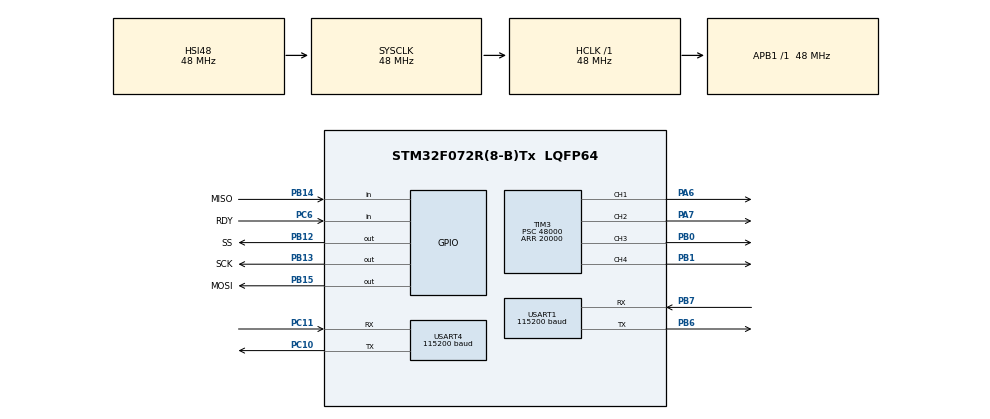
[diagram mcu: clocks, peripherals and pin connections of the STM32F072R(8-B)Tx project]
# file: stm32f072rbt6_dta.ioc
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CRC.InputDataFormat=CRC_INPUTDATA_FORMAT_WORDS
Dma.Request0=USART1_TX
Dma.Request1=USART1_RX
Dma.USART1_RX.1.Direction=DMA_PERIPH_TO_MEMORY
Dma.USART1_RX.1.Instance=DMA1_Channel3
Dma.USART1_RX.1.MemDataAlignment=DMA_MDATAALIGN_BYTE
Dma.USART1_RX.1.MemInc=DMA_MINC_ENABLE
Dma.USART1_RX.1.Mode=DMA_NORMAL
Dma.USART1_RX.1.PeriphDataAlignment=DMA_PDATAALIGN_BYTE
Dma.USART1_RX.1.PeriphInc=DMA_PINC_DISABLE
Dma.USART1_RX.1.Priority=DMA_PRIORITY_LOW
Dma.USART1_TX.0.Direction=DMA_MEMORY_TO_PERIPH
Dma.USART1_TX.0.Instance=DMA1_Channel2
Dma.USART1_TX.0.MemDataAlignment=DMA_MDATAALIGN_BYTE
Dma.USART1_TX.0.MemInc=DMA_MINC_ENABLE
Dma.USART1_TX.0.Mode=DMA_NORMAL
Dma.USART1_TX.0.PeriphDataAlignment=DMA_PDATAALIGN_BYTE
Dma.USART1_TX.0.PeriphInc=DMA_PINC_DISABLE
Dma.USART1_TX.0.Priority=DMA_PRIORITY_MEDIUM
FREERTOS.INCLUDE_vTaskDelayUntil=1
FREERTOS.Queues01=resultQueue,8,ADC_msg_t,NULL
FREERTOS.Tasks01=adcTask,2,128,StartAdcTask;tuneTask,-1,128,StartTuneTask;uartTask,0,128,StartUartTask
FREERTOS.configCHECK_FOR_STACK_OVERFLOW=2
FREERTOS.configTOTAL_HEAP_SIZE=5000
FREERTOS.configUSE_IDLE_HOOK=1
FREERTOS.configUSE_MALLOC_FAILED_HOOK=1
FREERTOS.configUSE_TIMERS=0
Mcu.Family=STM32F0
Mcu.Name=STM32F072R(8-B)Tx
Mcu.Package=LQFP64
NVIC.DMA1_Channel2_3_IRQn=true\:3\:0\:false
NVIC.TIM3_IRQn=true\:3\:0\:false
NVIC.USART1_IRQn=true\:3\:0\:false
PA13.Mode=Serial-WireDebug
PA13.Signal=SYS_SWDIO
PA14.Mode=Serial-WireDebug
PA14.Signal=SYS_SWCLK
PA6.Signal=S_TIM3_CH1
PA7.Signal=S_TIM3_CH2
PB0.Signal=S_TIM3_CH3
PB1.Signal=S_TIM3_CH4
PB12.GPIO_Label=SS
PB12.GPIO_ModeDefaultOutputPP=GPIO_MODE_OUTPUT_PP
PB12.GPIO_PuPd=GPIO_PULLUP
PB12.GPIO_Speed=GPIO_SPEED_MEDIUM
PB12.Signal=GPIO_Output
PB13.GPIO_Label=SCK
PB13.GPIO_ModeDefaultOutputPP=GPIO_MODE_OUTPUT_PP
PB13.GPIO_PuPd=GPIO_NOPULL
PB13.GPIO_Speed=GPIO_SPEED_HIGH
PB13.Signal=GPIO_Output
PB14.GPIO_Label=MISO
PB14.GPIO_Mode=GPIO_MODE_INPUT
PB14.GPIO_PuPd=GPIO_NOPULL
PB14.Signal=GPIO_Input
PB15.GPIO_Label=MOSI
PB15.GPIO_ModeDefaultOutputPP=GPIO_MODE_OUTPUT_PP
PB15.GPIO_PuPd=GPIO_NOPULL
PB15.GPIO_Speed=GPIO_SPEED_HIGH
PB15.Signal=GPIO_Output
PB6.Mode=Asynchronous
PB6.Signal=USART1_TX
PB7.Mode=Asynchronous
PB7.Signal=USART1_RX
PC10.Mode=Asynchronous
PC10.Signal=USART4_TX
PC11.Mode=Asynchronous
PC11.Signal=USART4_RX
PC6.GPIO_Label=RDY
PC6.GPIO_Mode=GPIO_MODE_INPUT
PC6.GPIO_PuPd=GPIO_NOPULL
PC6.Signal=GPIO_Input
ProjectManager.TargetToolchain=MDK-ARM V4
RCC.AHBFreq_Value=48000000
RCC.APB1Freq_Value=48000000
RCC.APB1TimFreq_Value=48000000
RCC.HCLKFreq_Value=48000000
RCC.PLLMUL=RCC_PLL_MUL6
RCC.PLLSourceVirtual=RCC_PLLSOURCE_HSI48
RCC.SYSCLKFreq_VALUE=48000000
RCC.SYSCLKSource=RCC_SYSCLKSOURCE_HSI48
SH.S_TIM3_CH1.0=TIM3_CH1,PWM Generation1 CH1
SH.S_TIM3_CH2.0=TIM3_CH2,PWM Generation2 CH2
SH.S_TIM3_CH3.0=TIM3_CH3,PWM Generation3 CH3
SH.S_TIM3_CH4.0=TIM3_CH4,PWM Generation4 CH4
TIM3.Channel-PWM\ Generation2\ CH2=TIM_CHANNEL_2
TIM3.Channel-PWM\ Generation3\ CH3=TIM_CHANNEL_3
TIM3.Channel-PWM\ Generation4\ CH4=TIM_CHANNEL_4
TIM3.Period=20000
TIM3.Prescaler=48000
USART1.BaudRate=115200
USART1.WordLength=UART_WORDLENGTH_8B
USART4.BaudRate=115200
USART4.WordLength=UART_WORDLENGTH_8B
VP_CRC_VS_CRC.Mode=CRC_Activate
VP_FREERTOS_VS_ENABLE.Mode=Enabled
VP_IWDG_VS_IWDG.Mode=IWDG_Activate
VP_RTC_VS_RTC_Alarm_A_Intern.Mode=Alarm A

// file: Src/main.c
/**
  ******************************************************************************
  * File Name          : main.c
  * Description        : Main program body
  ******************************************************************************
  *
  * COPYRIGHT(c) 2015 STMicroelectronics
  *
  * Redistribution and use in source and binary forms, with or without modification,
  * are permitted provided that the following conditions are met:
  *   1. Redistributions of source code must retain the above copyright notice,
  *      this list of conditions and the following disclaimer.
  *   2. Redistributions in binary form must reproduce the above copyright notice,
  *      this list of conditions and the following disclaimer in the documentation
  *      and/or other materials provided with the distribution.
  *   3. Neither the name of STMicroelectronics nor the names of its contributors
  *      may be used to endorse or promote products derived from this software
  *      without specific prior written permission.
  *
  * THIS SOFTWARE IS PROVIDED BY THE COPYRIGHT HOLDERS AND CONTRIBUTORS "AS IS"
  * AND ANY EXPRESS OR IMPLIED WARRANTIES, INCLUDING, BUT NOT LIMITED TO, THE
  * IMPLIED WARRANTIES OF MERCHANTABILITY AND FITNESS FOR A PARTICULAR PURPOSE ARE
  * DISCLAIMED. IN NO EVENT SHALL THE COPYRIGHT HOLDER OR CONTRIBUTORS BE LIABLE
  * FOR ANY DIRECT, INDIRECT, INCIDENTAL, SPECIAL, EXEMPLARY, OR CONSEQUENTIAL
  * DAMAGES (INCLUDING, BUT NOT LIMITED TO, PROCUREMENT OF SUBSTITUTE GOODS OR
  * SERVICES; LOSS OF USE, DATA, OR PROFITS; OR BUSINESS INTERRUPTION) HOWEVER
  * CAUSED AND ON ANY THEORY OF LIABILITY, WHETHER IN CONTRACT, STRICT LIABILITY,
  * OR TORT (INCLUDING NEGLIGENCE OR OTHERWISE) ARISING IN ANY WAY OUT OF THE USE
  * OF THIS SOFTWARE, EVEN IF ADVISED OF THE POSSIBILITY OF SUCH DAMAGE.
  *
  ******************************************************************************
  */
#include "stm32f0xx_hal.h"
#include "cmsis_os.h"
#include "crc.h"
#include "dma.h"
#include "iwdg.h"
#include "rtc.h"
#include "tim.h"
#include "usart.h"
#include "gpio.h"

/* USER CODE BEGIN Includes */
//#define USE_FULL_ASSERT 1
//#define NDEBUG
#include "main.h"
//#include "assert.h"

/* USER CODE END Includes */

/* USER CODE BEGIN PV */
//__IO uint8_t dma_t_cplt=1, dma_r_cplt=1;
extern AD779X_HandleTypeDef adi1;
extern SavedDomain_t EepromDomain;
SavedDomain_t Options_rw;
TIM_OC_InitTypeDef sConfigPWM;
HAL_StatusTypeDef sts;
volatile uint32_t systick_ms = 0;
/* USER CODE END PV */

void SystemClock_Config(void);
void MX_FREERTOS_Init(void);

/* USER CODE BEGIN PFP */
static HAL_StatusTypeDef out_pwm_jitter(float32_t pwr) __attribute__((used));
static HAL_StatusTypeDef out_pwm_simple(float32_t pwr) __attribute__((used));
static HAL_StatusTypeDef out_pwm_bresenham(float32_t pwr) __attribute__((used));
/* USER CODE END PFP */

/* USER CODE BEGIN 0 */
HAL_StatusTypeDef (*pf_output[N_FUNC_PWR])(float32_t pwr) = {out_pwm_jitter, out_pwm_simple, out_pwm_bresenham};
static uint16_t counter = 0; //counter for out_pwm_jitter
void HAL_TIM_PeriodElapsedCallback(TIM_HandleTypeDef *htim) {
	counter++;
}

HAL_StatusTypeDef out_pwm_jitter(float32_t pwr) {
	//use mod
	// tc1 6s, 6000 ms, 600 halfcycles 10ms cycle
	// tc2 60s, 10*tc1
	//uint16_t tmp = (uint16_t)(pwr / Options_rw.pwm_scale_f);

	//uint16_t tmp = (uint16_t)pwr;

	uint16_t pwm_val;

	if(counter == 0) {
		pwm_val = (uint16_t)pwr + 10*((uint16_t)pwr%10);
	}
	else {
		pwm_val = (uint16_t)pwr;
	}
	if(counter > 9) {
		counter = 0;
	}

	sConfigPWM.Pulse = pwm_val;
	HAL_TIM_PWM_ConfigChannel(&htim3, &sConfigPWM, TIM_CHANNEL_1);
	//HAL_TIM_PWM_Start(&htim3, TIM_CHANNEL_1);
	HAL_TIM_PWM_Start_IT(&htim3, TIM_CHANNEL_1);

	return HAL_OK;
}
HAL_StatusTypeDef out_pwm_simple(float32_t pwr){
	return HAL_OK;
}

HAL_StatusTypeDef out_pwm_bresenham(float32_t pwr) {
	return HAL_OK;
}

/* USER CODE END 0 */

int main(void)
{

  /* USER CODE BEGIN 1 */
	/*float32_t  cosOutput, sinOutput, sincos;
	float32_t x=0.941943896490312180;
	cosOutput = arm_cos_f32(x);
	sinOutput = arm_sin_f32(x);
	sincos=sinOutput+cosOutput;*/

	/** Rx=((A21+A22)/65536)*Re+(RL2-RL1)
	*  switch Iout1 and Iout2
	*/

	__IO uint32_t conf[5] = {0};
	sConfigPWM.OCMode = TIM_OCMODE_PWM1;
  sConfigPWM.Pulse = 0;
  sConfigPWM.OCPolarity = TIM_OCPOLARITY_HIGH;
  sConfigPWM.OCFastMode = TIM_OCFAST_DISABLE;

	Options_rw = EepromDomain;

  /* USER CODE END 1 */

  /* MCU Configuration----------------------------------------------------------*/

  /* Reset of all peripherals, Initializes the Flash interface and the Systick. */
  HAL_Init();

  /* Configure the system clock */
  SystemClock_Config();

  /* Initialize all configured peripherals */
  MX_GPIO_Init();
  MX_DMA_Init();
  MX_CRC_Init();
  MX_IWDG_Init();
  MX_RTC_Init();
  MX_TIM3_Init();
  MX_USART1_UART_Init();
  MX_USART4_UART_Init();

  /* USER CODE BEGIN 2 */
	//keep commented while default config changed
	//uint32_t temp_crc = HAL_CRC_Calculate(&hcrc, (uint32_t*)&Options_rw, OPT_CRC_LEN);
	/*if(Options_rw.crc != temp_crc) {
		//TODO: display CRC error on LCD
		while(1) {
		  ;
		}
	}*/
	//Options_rw.cnt_fw++;
	//ee_format(&EepromDomain);
	/*if(EepromDomain.header != 0xABAB) {
		ee_format(&EepromDomain);
	}*/

//	for(uint32_t i=0; i<10; i++) {
//		static uint32_t counter2 = 0;
//		const size_t buf_size = lcd.columns_amount + 1;
//		char buf[buf_size];
//		snprintf(buf, buf_size, "%d", counter2);
//		++counter2;
//		hd44780_clear(&lcd);
//		hd44780_write_string(&lcd, buf);
//		HAL_Delay(200);
//	}

	//Options_rw.offset[0] = 0x7000;
	//Options_rw.crc = HAL_CRC_Calculate(&hcrc, (uint32_t*)&Options_rw, OPT_CRC_LEN); //crc32
	//sts = SaveOptToFlash(&Options_rw, &EepromDomain); // 100% work

	AD779X_Reset();
	ADI_Init();

		conf[0] = AD779X_GetRegisterValue(AD779X_REG_CONF, 2, 1);
		conf[1] = AD779X_GetRegisterValue(AD779X_REG_MODE, 2, 1);
		conf[2] = AD779X_GetRegisterValue(AD779X_REG_IO, 1, 1);
		conf[3] = AD779X_GetRegisterValue(AD779X_REG_OFFSET, 2, 1);
		conf[4] = AD779X_GetRegisterValue(AD779X_REG_FULLSCALE, 2, 1);

		//AD779X_Calibrate(&adi1, AD779X_MODE_CAL_SYS_ZERO, AD779X_CH_AIN2P_AIN2M);
		conf[4] = AD779X_GetRegisterValue(AD779X_REG_FULLSCALE, 2, 1);

  /* USER CODE END 2 */

  /* Call init function for freertos objects (in freertos.c) */
  MX_FREERTOS_Init();

  /* Start scheduler */
  osKernelStart();

  /* We should never get here as control is now taken by the scheduler */

  /* Infinite loop */
  while (1)
  {

  /* USER CODE BEGIN 3 */
			/*reading data unstable, some times its read only first byte of data*/
  }
  /* USER CODE END 3 */

}

/** System Clock Configuration
*/
void SystemClock_Config(void)
{

  RCC_OscInitTypeDef RCC_OscInitStruct;
  RCC_ClkInitTypeDef RCC_ClkInitStruct;
  RCC_PeriphCLKInitTypeDef PeriphClkInit;

  RCC_OscInitStruct.OscillatorType = RCC_OSCILLATORTYPE_HSI48|RCC_OSCILLATORTYPE_LSI;
  RCC_OscInitStruct.HSI48State = RCC_HSI48_ON;
  RCC_OscInitStruct.LSIState = RCC_LSI_ON;
  RCC_OscInitStruct.PLL.PLLState = RCC_PLL_NONE;
  HAL_RCC_OscConfig(&RCC_OscInitStruct);

  RCC_ClkInitStruct.ClockType = RCC_CLOCKTYPE_SYSCLK;
  RCC_ClkInitStruct.SYSCLKSource = RCC_SYSCLKSOURCE_HSI48;
  RCC_ClkInitStruct.AHBCLKDivider = RCC_SYSCLK_DIV1;
  RCC_ClkInitStruct.APB1CLKDivider = RCC_HCLK_DIV1;
  HAL_RCC_ClockConfig(&RCC_ClkInitStruct, FLASH_LATENCY_1);

  PeriphClkInit.PeriphClockSelection = RCC_PERIPHCLK_USART1|RCC_PERIPHCLK_RTC;
  PeriphClkInit.Usart1ClockSelection = RCC_USART1CLKSOURCE_PCLK1;
  PeriphClkInit.RTCClockSelection = RCC_RTCCLKSOURCE_LSI;
  HAL_RCCEx_PeriphCLKConfig(&PeriphClkInit);

  HAL_SYSTICK_Config(HAL_RCC_GetHCLKFreq()/1000);

  HAL_SYSTICK_CLKSourceConfig(SYSTICK_CLKSOURCE_HCLK);

}

#ifdef USE_FULL_ASSERT

/**
   * @brief Reports the name of the source file and the source line number
   * where the assert_param error has occurred.
   * @param file: pointer to the source file name
   * @param line: assert_param error line source number
   * @retval None
   */
void assert_failed(uint8_t* file, uint32_t line)
{
  /* USER CODE BEGIN 6 */
  /* User can add his own implementation to report the file name and line number,
    ex: printf("Wrong parameters value: file %s on line %d\r\n", file, line) */
  do {} while (1);
  /* USER CODE END 6 */

}

#endif

/************************ (C) COPYRIGHT STMicroelectronics *****END OF FILE****/

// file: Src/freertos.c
/**
  ******************************************************************************
  * File Name          : freertos.c
  * Description        : Code for freertos applications
  ******************************************************************************
  *
  * COPYRIGHT(c) 2015 STMicroelectronics
  *
  * Redistribution and use in source and binary forms, with or without modification,
  * are permitted provided that the following conditions are met:
  *   1. Redistributions of source code must retain the above copyright notice,
  *      this list of conditions and the following disclaimer.
  *   2. Redistributions in binary form must reproduce the above copyright notice,
  *      this list of conditions and the following disclaimer in the documentation
  *      and/or other materials provided with the distribution.
  *   3. Neither the name of STMicroelectronics nor the names of its contributors
  *      may be used to endorse or promote products derived from this software
  *      without specific prior written permission.
  *
  * THIS SOFTWARE IS PROVIDED BY THE COPYRIGHT HOLDERS AND CONTRIBUTORS "AS IS"
  * AND ANY EXPRESS OR IMPLIED WARRANTIES, INCLUDING, BUT NOT LIMITED TO, THE
  * IMPLIED WARRANTIES OF MERCHANTABILITY AND FITNESS FOR A PARTICULAR PURPOSE ARE
  * DISCLAIMED. IN NO EVENT SHALL THE COPYRIGHT HOLDER OR CONTRIBUTORS BE LIABLE
  * FOR ANY DIRECT, INDIRECT, INCIDENTAL, SPECIAL, EXEMPLARY, OR CONSEQUENTIAL
  * DAMAGES (INCLUDING, BUT NOT LIMITED TO, PROCUREMENT OF SUBSTITUTE GOODS OR
  * SERVICES; LOSS OF USE, DATA, OR PROFITS; OR BUSINESS INTERRUPTION) HOWEVER
  * CAUSED AND ON ANY THEORY OF LIABILITY, WHETHER IN CONTRACT, STRICT LIABILITY,
  * OR TORT (INCLUDING NEGLIGENCE OR OTHERWISE) ARISING IN ANY WAY OUT OF THE USE
  * OF THIS SOFTWARE, EVEN IF ADVISED OF THE POSSIBILITY OF SUCH DAMAGE.
  *
  ******************************************************************************
  */

#include "FreeRTOS.h"
#include "task.h"
#include "cmsis_os.h"

/* USER CODE BEGIN Includes */
#include "main.h"
#include "dbg_msg.h"

/* USER CODE END Includes */

osThreadId adcTaskHandle;
osThreadId tuneTaskHandle;
osThreadId uartTaskHandle;
osMessageQId resultQueueHandle;

/* USER CODE BEGIN Variables */
extern AD779X_HandleTypeDef adi1;
//extern SavedDomain_t EepromDomain;
extern SavedDomain_t Options_rw;
//extern TIM_HandleTypeDef htim3;
extern UART_HandleTypeDef huart4, huart1;
//extern HAL_StatusTypeDef (*pf_output[N_FUNC_PWR])(float32_t pwr);
//extern HD44780_STM32F0xx_GPIO_Driver lcd_pindriver;
//__IO static Temperature_t temp_handle = {0.0f};
//arm_pid_instance_f32 pid_instance_1;
//__IO static float32_t out_tr;
typedef struct __ADC_msg_t {
	uint32_t temp;
	uint32_t diff;
	uint8_t gain;
} ADC_msg_t;

size_t fre=0;
__IO static uint8_t CPU_IDLE = 0, malloc_err=0;

//unsigned int la_adc_task = 0;
//unsigned int la_pid_task = 0;
//fre=xPortGetFreeHeapSize();
//__IO static float32_t t_rtd = 0.0f;

/* USER CODE END Variables */

void StartAdcTask(void const * argument);
void StartTuneTask(void const * argument);
void StartUartTask(void const * argument);

void MX_FREERTOS_Init(void); /* (MISRA C 2004 rule 8.1) */

/* USER CODE BEGIN FunctionPrototypes */
extern void init_lcd(void);
/* USER CODE END FunctionPrototypes */

/* Hook prototypes */
void vApplicationIdleHook(void);
void vApplicationStackOverflowHook(xTaskHandle xTask, signed char *pcTaskName);
void vApplicationMallocFailedHook(void);

/* USER CODE BEGIN 2 */
void vApplicationIdleHook( void )
{
   /* vApplicationIdleHook() will only be called if configUSE_IDLE_HOOK is set
   to 1 in FreeRTOSConfig.h. It will be called on each iteration of the idle
   task. It is essential that code added to this hook function never attempts
   to block in any way (for example, call xQueueReceive() with a block time
   specified, or call vTaskDelay()). If the application makes use of the
   vTaskDelete() API function (as this demo application does) then it is also
   important that vApplicationIdleHook() is permitted to return to its calling
   function, because it is the responsibility of the idle task to clean up
   memory allocated by the kernel to any task that has since been deleted. */
	 static portTickType LastTick;
        static uint32_t count;             //наш трудяга счетчик
        static uint32_t max_count ;                //максимальное значение счетчика, вычисляется при калибровке и соответствует 100% CPU idle

        count++;                                                  //приращение счетчика

        if((xTaskGetTickCount() - LastTick ) > 1000)    { //если прошло 1000 тиков (1 сек для моей платфрмы)
                LastTick = xTaskGetTickCount();
                if(count > max_count) max_count = count;          //это калибровка
                CPU_IDLE = (100 * count) / max_count;               //вычисляем текущую загрузку
                count = 0;                                        //обнуляем счетчик
        }

}
/* USER CODE END 2 */

/* USER CODE BEGIN 4 */
void vApplicationStackOverflowHook(xTaskHandle xTask, signed char *pcTaskName)
{
   /* Run time stack overflow checking is performed if
   configCHECK_FOR_STACK_OVERFLOW is defined to 1 or 2. This hook function is
   called if a stack overflow is detected. */
__IO	static int8_t taskname[30];
	for(uint32_t i=0; i<30; i++) {
		taskname[i]=*(pcTaskName+i);
	}
}
/* USER CODE END 4 */

/* USER CODE BEGIN 5 */
void vApplicationMallocFailedHook(void)
{
   /* vApplicationMallocFailedHook() will only be called if
   configUSE_MALLOC_FAILED_HOOK is set to 1 in FreeRTOSConfig.h. It is a hook
   function that will get called if a call to pvPortMalloc() fails.
   pvPortMalloc() is called internally by the kernel whenever a task, queue,
   timer or semaphore is created. It is also called by various parts of the
   demo application. If heap_1.c or heap_2.c are used, then the size of the
   heap available to pvPortMalloc() is defined by configTOTAL_HEAP_SIZE in
   FreeRTOSConfig.h, and the xPortGetFreeHeapSize() API function can be used
   to query the size of free heap space that remains (although it does not
   provide information on how the remaining heap might be fragmented). */
	malloc_err++;
}
/* USER CODE END 5 */

/* Init FreeRTOS */

void MX_FREERTOS_Init(void) {

  /* Create the thread(s) */
  /* definition and creation of adcTask */
  osThreadDef(adcTask, StartAdcTask, osPriorityHigh, 0, 128);
  adcTaskHandle = osThreadCreate(osThread(adcTask), NULL);

  /* definition and creation of tuneTask */
  osThreadDef(tuneTask, StartTuneTask, osPriorityBelowNormal, 0, 128);
  tuneTaskHandle = osThreadCreate(osThread(tuneTask), NULL);

  /* definition and creation of uartTask */
  osThreadDef(uartTask, StartUartTask, osPriorityNormal, 0, 128);
  uartTaskHandle = osThreadCreate(osThread(uartTask), NULL);

  /* Create the queue(s) */
  /* definition and creation of resultQueue */
  osMessageQDef(resultQueue, 8, ADC_msg_t);
  resultQueueHandle = osMessageCreate(osMessageQ(resultQueue), NULL);

}

/* StartAdcTask function */
void StartAdcTask(void const * argument)
{

  /* USER CODE BEGIN StartAdcTask */
	TickType_t LastWakeTime = xTaskGetTickCount();
	BaseType_t xStatus = pdFALSE;
	const TickType_t adc_delay = 2000; //milliseconds

	osDelay(1000); //for maxcount calibration

  /* Infinite loop */
  for(;;)
  {
		/**/
		uint32_t raw_temp = 0, raw_diff = 0, gain = AD779X_GAIN_64;
		ADC_msg_t tMsg;

		#ifndef NDEBUG
		//la_adc_task = 1;
		HAL_UART_Transmit(&huart4, (uint8_t *)msg1, sizeof(msg1), 5);
		#endif

		/*Read reference temperature at channel 1**********************************/
		adi1.conf &= ~(AD779X_CONF_CHAN(0xF) | AD779X_CONF_GAIN(0xF));
		adi1.conf |= AD779X_CONF_CHAN(AD779X_CH_AIN1P_AIN1M);
		adi1.conf |= ~AD779X_CONF_GAIN(AD779X_GAIN_1);
		adi1.io &= ~AD779X_IEXCDIR(0x3);
		adi1.io |= AD779X_IEXCDIR(AD779X_DIR_IEXC1_IOUT2_IEXC2_IOUT1);

		taskENTER_CRITICAL();
		AD779X_conf(&adi1, reg_io); // CS is modified by SPI read/write functions.
		raw_temp = AD779X_SingleConversion(&adi1);
		taskEXIT_CRITICAL();

		adi1.io &= ~AD779X_IEXCDIR(0x3);
		adi1.io |= AD779X_IEXCDIR(AD779X_DIR_IEXC1_IOUT1_IEXC2_IOUT2);

		taskENTER_CRITICAL();
		AD779X_conf(&adi1, reg_io); // CS is modified by SPI read/write functions.
		raw_temp += AD779X_SingleConversion(&adi1);
		taskEXIT_CRITICAL();
		/***************************************************************************/

		/*Read difference temperature at channel 2**********************************/
		adi1.conf &= ~(AD779X_CONF_CHAN(0xF) | AD779X_CONF_GAIN(0xF));
		adi1.conf |= AD779X_CONF_CHAN(AD779X_CH_AIN2P_AIN2M);
		adi1.conf |= ~AD779X_CONF_GAIN(gain);
		adi1.io &= ~AD779X_IEXCDIR(0x3);
		adi1.io |= AD779X_IEXCDIR(AD779X_DIR_IEXC1_IOUT2_IEXC2_IOUT1);

		taskENTER_CRITICAL();
		AD779X_conf(&adi1, reg_io); // CS is modified by SPI read/write functions.
		raw_diff = AD779X_SingleConversion(&adi1);
		taskEXIT_CRITICAL();

		adi1.io &= ~AD779X_IEXCDIR(0x3);
		adi1.io |= AD779X_IEXCDIR(AD779X_DIR_IEXC1_IOUT1_IEXC2_IOUT2);

		taskENTER_CRITICAL();
		AD779X_conf(&adi1, reg_io); // CS is modified by SPI read/write functions.
		raw_diff += AD779X_SingleConversion(&adi1);
		taskEXIT_CRITICAL();
		/***************************************************************************/

		/*Send message**************************************************************/
		tMsg.temp = raw_temp;
		tMsg.diff = raw_diff;
		tMsg.gain = (uint8_t)gain;

		if (0 != resultQueueHandle) {
			xStatus = xQueueSend( resultQueueHandle, (void *)&tMsg, (TickType_t)100 );
		}
		#ifndef NDEBUG
		else {
			//if queue not created send message
			HAL_UART_Transmit(&huart4, (uint8_t *)err1, sizeof(err1), 5);
		}
		if(pdTRUE != xStatus) {
			//if queue full
			HAL_UART_Transmit(&huart4, (uint8_t *)err2, sizeof(err2), 5);
		}
		#endif

		/***************************************************************************/

		/*Tune gain*****************************************************************/
		if (DIFF_SCALE_MAX < raw_diff) {
			if(AD779X_GAIN_1 < gain) {
				gain--;
			}
		}
		if (DIFF_SCALE_MIN > raw_diff) {
			if (AD779X_GAIN_128 > gain) {
				gain++;
			}
		}
		/***************************************************************************/

		fre=xPortGetFreeHeapSize();

		//la_adc_task = 0;

		//osDelay(2000);
		vTaskDelayUntil(&LastWakeTime, adc_delay); //1000 ms
  }
	//vTaskDelete(NULL);
  /* USER CODE END StartAdcTask */
}

/* StartTuneTask function */
void StartTuneTask(void const * argument)
{
  for(;;)
  {
    osDelay(1);
  }
}

/* StartUartTask function */
void StartUartTask(void const * argument)
{
  /* USER CODE BEGIN StartUartTask */
	ADC_msg_t rMsg;
	float32_t temp, dta;
	BaseType_t xStatus = pdFALSE;

  /* Infinite loop */
  for(;;)
  {
		#ifndef NDEBUG
		HAL_UART_Transmit(&huart4, (uint8_t *)msg2, sizeof(msg2), 5);
		#endif

		/*Receive message***********************************************************/
		if (0 != resultQueueHandle) {
			xStatus = xQueueReceive(resultQueueHandle, &rMsg, (TickType_t)10000);
		}
		#ifndef NDEBUG
		else {
			//if queue not created send message
			HAL_UART_Transmit(&huart4, (uint8_t *)err1, sizeof(err1), 5);
		}

		if(pdTRUE != xStatus) {
			//if data not received
			HAL_UART_Transmit(&huart4, (uint8_t *)err2, sizeof(err2), 5);
		}
		#endif
		/***************************************************************************/

		/*calculate*****************************************************************/
		temp = rtd_get_temp(rMsg.temp, Pt375, r1000);
		dta = rMsg.diff / rMsg.gain;
		/***************************************************************************/

		/*format string and send message to PC**************************************/
		//HAL_StatusTypeDef HAL_UART_Transmit_DMA(UART_HandleTypeDef *huart, uint8_t *pData, uint16_t Size)

		/***************************************************************************/
    osDelay(1);
  }
  /* USER CODE END StartUartTask */
}

/************************ (C) COPYRIGHT STMicroelectronics *****END OF FILE****/
